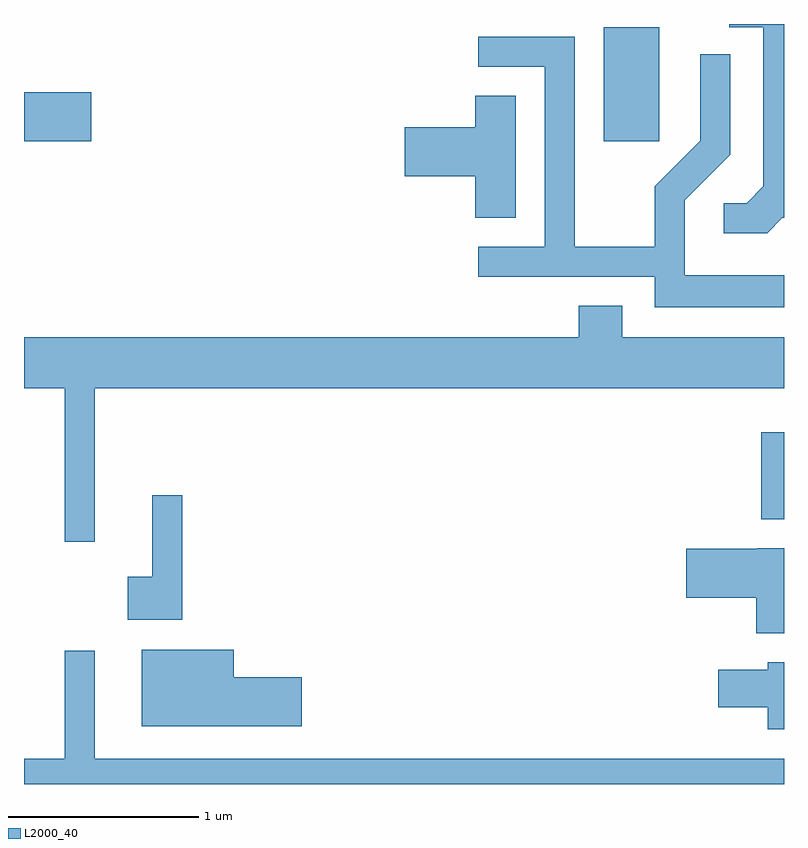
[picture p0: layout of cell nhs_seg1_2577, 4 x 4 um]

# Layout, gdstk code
import gdstk
lib = gdstk.Library(unit=1e-6, precision=1e-09)
def R(c, l, rs):  # rectangles x0, y0, x1, y1
    for r in rs: c.add(gdstk.rectangle(r[:2], r[2:], *l))
def P(c, l, *ps):  # polygons
    for p in ps: c.add(gdstk.Polygon(p, *l))
L2000_40 = (2000, 40)

nhs_seg1_2577 = lib.new_cell('nhs_seg1_2577')
R(nhs_seg1_2577, L2000_40, [(267.491,901.106,267.611,901.564), (263.611,903.096,263.964,903.354), (266.661,903.096,266.954,903.694)])
P(nhs_seg1_2577, L2000_40, [(267.602,902.691),(267.611,902.691),(267.611,903.712),(267.323,903.712),(267.323,903.696),(267.501,903.696),(267.501,902.857),(267.414,902.769),(267.293,902.769),(267.293,902.611),(267.522,902.611)],
  [(267.611,902.389),(267.089,902.389),(267.089,902.784),(267.329,903.024),(267.329,903.553),(267.171,903.553),(267.171,903.097),(266.931,902.857),(266.931,902.539),(266.509,902.539),(266.509,903.644),(266.003,903.644),(266.003,903.486),(266.351,903.486),(266.351,902.539),(266.003,902.539),(266.003,902.381),(266.931,902.381),(266.931,902.221),(267.611,902.221)],
  [(266.199,903.334),(265.986,903.334),(265.986,903.169),(265.616,903.169),(265.616,902.911),(265.986,902.911),(265.986,902.691),(266.199,902.691)],
  [(263.984,901.796),(267.611,901.796),(267.611,902.064),(266.759,902.064),(266.759,902.229),(266.531,902.229),(266.531,902.064),(263.611,902.064),(263.611,901.796),(263.826,901.796),(263.826,900.988),(263.984,900.988)],
  [(264.444,901.233),(264.286,901.233),(264.286,900.804),(264.156,900.804),(264.156,900.576),(264.444,900.576)],
  [(267.611,900.954),(267.47,900.954),(267.47,900.949),(267.096,900.949),(267.096,900.691),(267.466,900.691),(267.466,900.506),(267.611,900.506)],
  [(265.074,900.274),(264.714,900.274),(264.714,900.419),(264.231,900.419),(264.231,900.016),(265.074,900.016)],
  [(267.611,899.844),(263.984,899.844),(263.984,900.413),(263.826,900.413),(263.826,899.844),(263.611,899.844),(263.611,899.712),(267.611,899.712)],
  [(267.611,900.354),(267.526,900.354),(267.526,900.314),(267.266,900.314),(267.266,900.116),(267.526,900.116),(267.526,900.001),(267.611,900.001)])

lib.write_gds('nhs_seg1_2577.gds')
